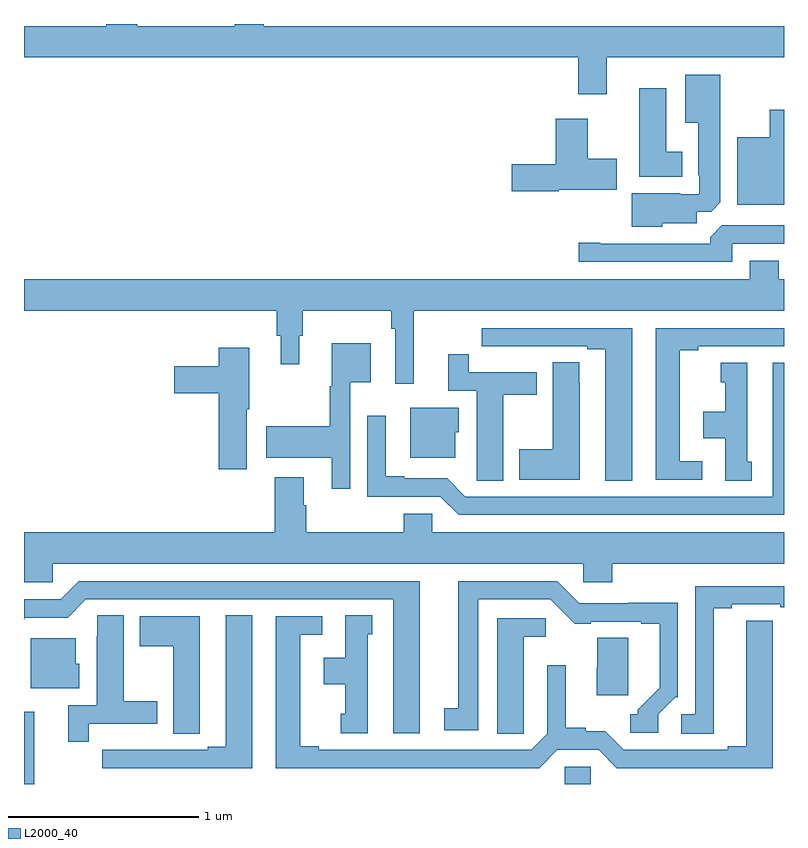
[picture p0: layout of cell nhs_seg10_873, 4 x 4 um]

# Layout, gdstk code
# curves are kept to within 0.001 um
import gdstk
lib = gdstk.Library(unit=1e-6, precision=1e-09)
def R(c, l, rs):  # rectangles x0, y0, x1, y1
    for r in rs: c.add(gdstk.rectangle(r[:2], r[2:], *l))
def P(c, l, *ps):  # polygons
    for p in ps: c.add(gdstk.Polygon(p, *l))
L2000_40 = (2000, 40)

nhs_seg10_873 = lib.new_cell('nhs_seg10_873')
R(nhs_seg10_873, L2000_40, [(155,1288.5,155.054,1288.879), (157.845,1288.5,157.983,1288.59)])
P(nhs_seg10_873, L2000_40, [(158.068,1292.324),(159,1292.324),(159,1292.488),(156.261,1292.488),(156.261,1292.5),(156.11,1292.5),(156.11,1292.488),(155.597,1292.488),(155.597,1292.5),(155.432,1292.5),(155.432,1292.488),(155,1292.488),(155,1292.324),(157.916,1292.324),(157.916,1292.13),(158.068,1292.13)],
  [(158.358,1291.451),(158.542,1291.451),(158.542,1291.512),(158.616,1291.512),(158.665,1291.561),(158.665,1292.233),(158.48,1292.233),(158.48,1291.979),(158.549,1291.979),(158.549,1291.705),(158.553,1291.705),(158.553,1291.605),(158.453,1291.605),(158.453,1291.609),(158.198,1291.609),(158.198,1291.433),(158.358,1291.433)],
  [(158.464,1291.828),(158.38,1291.828),(158.38,1292.161),(158.237,1292.161),(158.237,1291.697),(158.464,1291.697)],
  [(159,1292.05),(158.924,1292.05),(158.924,1291.903),(158.753,1291.903),(158.753,1291.55),(159,1291.55)],
  [(157.815,1291.628),(158.119,1291.628),(158.119,1291.791),(157.966,1291.791),(157.966,1292.002),(157.799,1292.002),(157.799,1291.763),(157.566,1291.763),(157.566,1291.621),(157.815,1291.621)],
  [(158.727,1291.344),(159,1291.344),(159,1291.44),(158.673,1291.44),(158.612,1291.378),(158.612,1291.344),(158.032,1291.344),(158.032,1291.349),(157.92,1291.349),(157.92,1291.248),(158.727,1291.248)],
  [(158.819,1291.255),(158.819,1291.156),(155,1291.156),(155,1290.992),(156.331,1290.992),(156.331,1290.858),(156.35,1290.858),(156.35,1290.708),(156.448,1290.708),(156.448,1290.858),(156.467,1290.858),(156.467,1290.992),(156.934,1290.992),(156.934,1290.896),(156.954,1290.896),(156.954,1290.606),(157.052,1290.606),(157.052,1290.992),(159,1290.992),(159,1291.156),(158.972,1291.156),(158.972,1291.255)],
  [(158.569,1290.198),(158.452,1290.198),(158.452,1290.784),(158.548,1290.784),(158.548,1290.804),(159,1290.804),(159,1290.9),(158.324,1290.9),(158.324,1290.102),(158.569,1290.102)],
  [(158.2,1290.9),(157.41,1290.9),(157.41,1290.804),(157.522,1290.804),(157.522,1290.803),(157.688,1290.803),(157.688,1290.804),(157.964,1290.804),(157.964,1290.789),(158.06,1290.789),(158.06,1290.097),(158.2,1290.097)],
  [(156.717,1290.614),(156.826,1290.614),(156.826,1290.82),(156.62,1290.82),(156.62,1290.594),(156.609,1290.594),(156.609,1290.384),(156.276,1290.384),(156.276,1290.218),(156.62,1290.218),(156.62,1290.054),(156.717,1290.054)],
  [(156.172,1290.473),(156.186,1290.473),(156.186,1290.796),(156.026,1290.796),(156.026,1290.699),(155.79,1290.699),(155.79,1290.557),(156.026,1290.557),(156.026,1290.156),(156.172,1290.156)],
  [(157.522,1290.55),(157.699,1290.55),(157.699,1290.666),(157.34,1290.666),(157.34,1290.763),(157.232,1290.763),(157.232,1290.57),(157.382,1290.57),(157.382,1290.208),(157.383,1290.208),(157.383,1290.097),(157.522,1290.097)],
  [(157.924,1290.611),(157.923,1290.611),(157.923,1290.719),(157.784,1290.719),(157.784,1290.261),(157.607,1290.261),(157.607,1290.101),(157.924,1290.101)],
  [(159,1290.718),(158.942,1290.718),(158.942,1290.012),(157.323,1290.012),(157.227,1290.108),(157,1290.108),(157,1290.121),(156.904,1290.121),(156.904,1290.439),(156.807,1290.439),(156.807,1290.012),(157.191,1290.012),(157.287,1289.916),(159,1289.916)],
  [(158.83,1290.195),(158.806,1290.195),(158.806,1290.718),(158.666,1290.718),(158.666,1290.615),(158.69,1290.615),(158.69,1290.46),(158.576,1290.46),(158.576,1290.32),(158.69,1290.32),(158.69,1290.097),(158.83,1290.097)],
  [(157.27,1290.351),(157.288,1290.351),(157.288,1290.481),(157.034,1290.481),(157.034,1290.218),(157.27,1290.218)],
  [(155.151,1289.66),(157.944,1289.66),(157.944,1289.562),(158.096,1289.562),(158.096,1289.66),(159,1289.66),(159,1289.824),(157.149,1289.824),(157.149,1289.922),(156.998,1289.922),(156.998,1289.824),(156.485,1289.824),(156.485,1289.966),(156.472,1289.966),(156.472,1290.115),(156.32,1290.115),(156.32,1289.824),(155,1289.824),(155,1289.562),(155.151,1289.562)],
  [(158.337,1288.866),(158.427,1288.956),(158.442,1288.956),(158.442,1289.453),(158.179,1289.453),(158.179,1289.451),(157.923,1289.451),(157.806,1289.568),(157.286,1289.568),(157.286,1288.898),(157.212,1288.898),(157.212,1288.782),(157.39,1288.782),(157.39,1289.472),(157.77,1289.472),(157.898,1289.344),(157.984,1289.344),(157.984,1289.355),(158.249,1289.355),(158.249,1289.343),(158.345,1289.343),(158.345,1289.006),(158.229,1288.89),(158.229,1288.866),(158.19,1288.866),(158.19,1288.77),(158.337,1288.77)],
  [(157.084,1289.568),(155.289,1289.568),(155.193,1289.472),(155,1289.472),(155,1289.364),(155.002,1289.364),(155.002,1289.376),(155.229,1289.376),(155.325,1289.472),(156.944,1289.472),(156.944,1288.767),(157.084,1288.767)],
  [(158.629,1289.425),(158.725,1289.425),(158.725,1289.445),(158.981,1289.445),(158.981,1289.43),(159,1289.43),(159,1289.541),(158.532,1289.541),(158.532,1288.866),(158.46,1288.866),(158.46,1288.765),(158.629,1288.765)],
  [(156.202,1289.387),(156.062,1289.387),(156.062,1288.695),(155.966,1288.695),(155.966,1288.68),(155.69,1288.68),(155.69,1288.681),(155.524,1288.681),(155.524,1288.68),(155.412,1288.68),(155.412,1288.584),(156.202,1288.584)],
  [(155.342,1288.818),(155.701,1288.818),(155.701,1288.935),(155.524,1288.935),(155.524,1289.387),(155.385,1289.387),(155.385,1289.276),(155.384,1289.276),(155.384,1288.914),(155.234,1288.914),(155.234,1288.722),(155.342,1288.722)],
  [(156.808,1289.289),(156.832,1289.289),(156.832,1289.387),(156.692,1289.387),(156.692,1289.164),(156.578,1289.164),(156.578,1289.024),(156.692,1289.024),(156.692,1288.869),(156.668,1288.869),(156.668,1288.767),(156.808,1288.767)],
  [(155.925,1288.873),(155.926,1288.873),(155.926,1289.383),(155.609,1289.383),(155.609,1289.224),(155.786,1289.224),(155.786,1288.765),(155.925,1288.765)],
  [(157.807,1288.68),(158.025,1288.68),(158.121,1288.584),(158.941,1288.584),(158.94,1289.36),(158.801,1289.36),(158.801,1288.7),(158.705,1288.7),(158.705,1288.68),(158.157,1288.68),(158.06,1288.778),(157.956,1288.778),(157.956,1288.796),(157.852,1288.796),(157.852,1289.125),(157.755,1289.125),(157.755,1288.764),(157.671,1288.68),(156.55,1288.68),(156.55,1288.7),(156.454,1288.7),(156.454,1289.286),(156.571,1289.286),(156.571,1289.382),(156.326,1289.382),(156.326,1288.584),(157.711,1288.584)],
  [(157.629,1288.873),(157.63,1288.873),(157.63,1289.276),(157.747,1289.276),(157.747,1289.373),(157.49,1289.373),(157.49,1288.765),(157.629,1288.765)],
  [(158.179,1289.27),(158.017,1289.27),(158.017,1289.112),(158.015,1289.112),(158.015,1288.968),(158.179,1288.968)],
  [(155.29,1289.133),(155.272,1289.133),(155.272,1289.266),(155.036,1289.266),(155.036,1289.003),(155.29,1289.003)])

lib.write_gds('nhs_seg10_873.gds')
